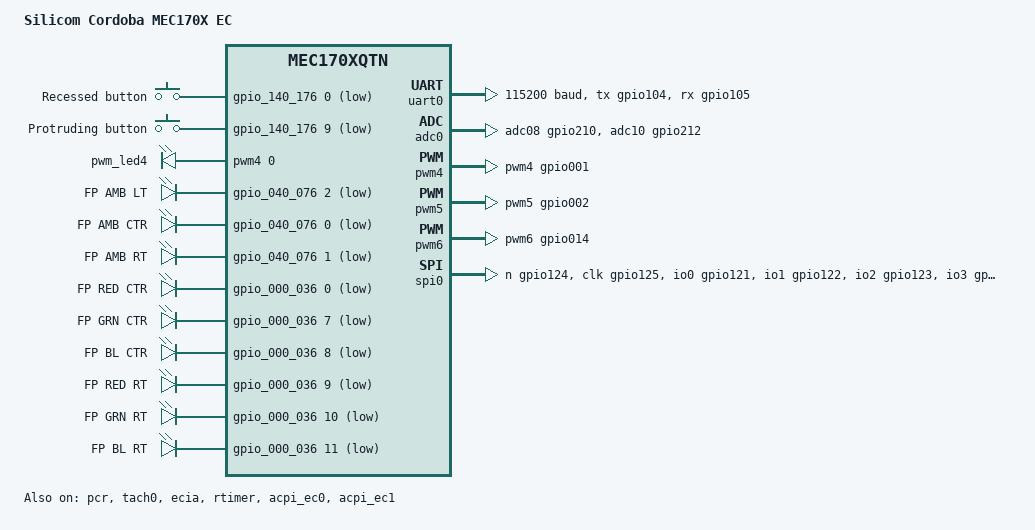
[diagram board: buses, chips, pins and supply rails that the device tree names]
/*
 * Copyright (c) 2022, Silicom Connectivity Solutions
 *
 * SPDX-License-Identifier: Apache-2.0
 */

/dts-v1/;

#include <microchip/mec170xqtn.dtsi>
#include <microchip/mec170x/mec170xqtn-pinctrl.dtsi>
#include <dt-bindings/pwm/pwm.h>

/ {
	model = "Silicom Cordoba MEC170X EC";
	compatible = "microchip,mec170x_cordoba", "microchip,mec170xqtn";

	chosen {
		zephyr,sram = &sram0;
		zephyr,flash = &flash0;
		zephyr,console = &uart0;
	};

	aliases {
/*
		led0 = &led3;
		led1 = &led1;
		led2 = &led2;
*/
		i2c0 = &i2c_smb_0;
		i2c-0 = &i2c_smb_0;
		i2c3 = &i2c_smb_1;
		i2c11 = &i2c_smb_2;
		pwm-0 = &pwm0;
		peci-0 = &peci0;
		sw0 = &protruding_btn;
		red-pwm-led = &pwm_led4;
		green-pwm-led = &pwm_led5;
		blue-pwm-led = &pwm_led6;
		pwm-led0 = &pwm_led6;
	};

	gpio-keys {
		compatible = "gpio-keys";

		recessed_btn: button_0 {
			gpios = <&gpio_140_176 0 GPIO_ACTIVE_LOW>;
			label = "Recessed button";
		};
		protruding_btn: button_1 {
			gpios = <&gpio_140_176 9 GPIO_ACTIVE_LOW>;
			label = "Protruding button";
		};
	};

	pwm-leds {
		compatible = "pwm-leds";

		pwm_led4: pwm_led4 {
			pwms = <&pwm4 0 PWM_USEC(100)>;
		};
		pwm_led5: pwm_led5 {
			pwms = <&pwm5 0 PWM_USEC(100)>;
			status = "disabled";
		};

		pwm_led6: pwm_led6 {
			pwms = <&pwm6 0 PWM_USEC(20)>;
			status = "disabled";
		};
	};
	leds {
		compatible = "gpio-leds";

			/* GPIO001/PWM4 */
/*
		led0: led_0 {
			gpios = <&gpio_000_036 1 GPIO_ACTIVE_LOW>;
			label = "FP RED LT";
		};

*/
			/* GPIO002/PWM5 */
/*
		led1: led_1 {
			gpios = <&gpio_000_036 2 GPIO_ACTIVE_LOW>;
			label = "FP GRN LT";
		};
*/

			/* GPIO014/PWM6/GPTP_IN6 */
/*
		led2: led_2 {
			gpios = <&gpio_000_036 12 GPIO_ACTIVE_LOW>;
			label = "FP BL LT";
		};
*/
		led3: led_3 {
			/* GPIO042/PECI_DAT */
			gpios = <&gpio_040_076 2 GPIO_ACTIVE_LOW>;
			label = "FP AMB LT";
		};
		led4: led_4 {
			/* GPIO040/GPTP-OUT2/KSO00 */
			gpios = <&gpio_040_076 0 GPIO_ACTIVE_LOW>;
			label = "FP AMB CTR";
		};
		led5: led_5 {
			/* GPIO041 */
			gpios = <&gpio_040_076 1 GPIO_ACTIVE_LOW>;
			label = "FP AMB RT";
		};
		led6: led_6 {
			/* GPIO000/VCI_IN3# */
			gpios = <&gpio_000_036 0 GPIO_ACTIVE_LOW>;
			label = "FP RED CTR";
		};
		led7: led_7 {
			/* GPIO007/IC203_SDA/PS2_CLK0B */
			gpios = <&gpio_000_036 7 GPIO_ACTIVE_LOW>;
			label = "FP GRN CTR";
		};
		led8: led_8 {
			/* GPIO010/IC203_SCL/PS2_DAT0B */
			gpios = <&gpio_000_036 8 GPIO_ACTIVE_LOW>;
			label = "FP BL CTR";
		};
		led9: led_9 {
			/* GPIO011/NSMI */
			gpios = <&gpio_000_036 9 GPIO_ACTIVE_LOW>;
			label = "FP RED RT";
		};
		led10: led_10 {
			/* GPIO012/I2C07_SDA/TOUT3 */
			gpios = <&gpio_000_036 10 GPIO_ACTIVE_LOW>;
			label = "FP GRN RT";
		};
		led11: led_11 {
			/* GPIO013/I2C07_SCL/TOUT2 */
			gpios = <&gpio_000_036 11 GPIO_ACTIVE_LOW>;
			label = "FP BL RT";
		};
	};
};

&cpu0 {
	clock-frequency = <48000000>;
	status = "okay";
};

&pcr {
	/* Use external crystal */
	pll-32k-src = <MCHP_XEC_CLK32K_SRC_XTAL>;
	periph-32k-src = <MCHP_XEC_CLK32K_SRC_XTAL>;
};

&flash0 {
	/* this means the smaller device */
	reg = <0x000E0000 0x38000>;
};

&uart0 {
	status = "okay";
	current-speed = <115200>;
	pinctrl-0 = <&uart0_tx_gpio104 &uart0_rx_gpio105>;
	pinctrl-names = "default";
};

&adc0 {
	status = "okay";
	pinctrl-0 = <&adc08_gpio210
		     &adc10_gpio212>;
	pinctrl-names = "default";
};

&pwm0 {
	status = "disabled";
	pinctrl-0 = <&pwm0_gpio053>;
	pinctrl-names = "default";
};
&pwm4 {
	status = "okay";
	pinctrl-0 = <&pwm4_gpio001>;
	pinctrl-names = "default";
};
&pwm5 {
	status = "okay";
	pinctrl-0 = <&pwm5_gpio002>;
	pinctrl-names = "default";
};
&pwm6 {
	status = "okay";
	pinctrl-0 = <&pwm6_gpio014>;
	pinctrl-names = "default";
};

&tach0 {
	status = "okay";
	pinctrl-0 = <&tach0_gpio050>;
	pinctrl-names = "default";
};

/* Initialize ECIA. Does not initialize child devices */
&ecia {
	status = "okay";
};

&rtimer {
	status = "okay";
};

&pcr {
	status = "okay";
};

&spi0 {
	status = "okay";
 
	pinctrl-0 = < &pvt_cs_n_gpio124
		      &pvt_clk_gpio125
		      &pvt_io0_gpio121
		      &pvt_io1_gpio122
		      &pvt_io2_gpio123
		      &pvt_io3_gpio126 >;

	pinctrl-names = "default";
};

&acpi_ec0 {
	status = "okay";
};

&acpi_ec1 {
	status = "okay";
};

&pinctrl {
	ps_on_uc: gpio23 {
		pinmux = < MCHP_XEC_PINMUX(023, MCHP_AF0) >;
	};

	rsmrst_n: gpio22 {
		pinmux = < MCHP_XEC_PINMUX(022, MCHP_AF0) >;
	};

	soc_pwrbtn_n: gpio17 {
		pinmux = < MCHP_XEC_PINMUX(017, MCHP_AF0) >;
	};

	soc_rstbtn_n: gpio20 {
		pinmux = < MCHP_XEC_PINMUX(020, MCHP_AF0) >;
	};

	pltrst_n: gpio64 {
		pinmux = < MCHP_XEC_PINMUX(064, MCHP_AF0) >;
	};

};

&pltrst_n {
	output-low;
};

&ps_on_uc {
	output-low;
};

&rsmrst_n {
	output-high;
};

&soc_pwrbtn_n {
	drive-open-drain;
};

&soc_rstbtn_n {
	drive-open-drain;
};
